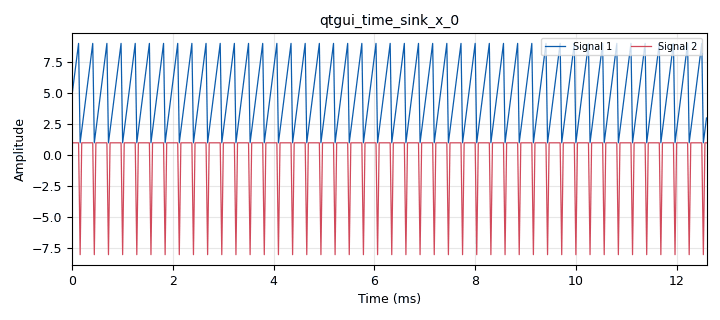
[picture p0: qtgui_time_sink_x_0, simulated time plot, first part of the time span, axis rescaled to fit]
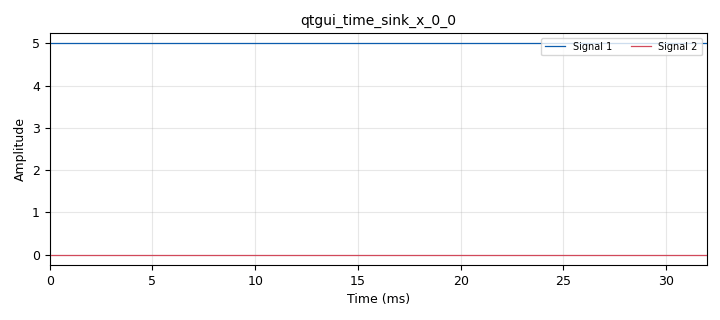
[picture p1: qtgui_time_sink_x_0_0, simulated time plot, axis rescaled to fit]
options:
  parameters:
    author: USUARIO
    generate_options: qt_gui
    id: DiferenciadorP1
    output_language: python
    title: Not titled yet
  states: {}

blocks:
- name: samp_rate
  id: variable
  parameters:
    value: '32000'
  states: {}
- name: blocks_throttle2_0
  id: blocks_throttle2
  parameters:
    samples_per_second: samp_rate
    type: float
  states: {}
- name: blocks_throttle2_0_0
  id: blocks_throttle2
  parameters:
    samples_per_second: samp_rate
    type: float
  states: {}
- name: blocks_vector_source_x_0
  id: blocks_vector_source_x
  parameters:
    repeat: 'True'
    type: float
    vector: (1,2,3,4,5,6,7,8,9)
  states: {}
- name: blocks_vector_source_x_0_0
  id: blocks_vector_source_x
  parameters:
    repeat: 'True'
    type: float
    vector: (5,5)
  states: {}
- name: epy_block_0
  id: epy_block
  parameters:
    _source_code: |-
      import numpy as np
      from gnuradio import gr


      class blk(gr.sync_block):

          def __init__(self):
              gr.sync_block.__init__(
                  self,
                  name='e_Diff',
                  in_sig=[np.float32],
                  out_sig=[np.float32]
              )

              self.x_anterior = 0

          def work(self, input_items, output_items):

              x = input_items[0]
              y = output_items[0]

              y[:] = x - np.concatenate(([self.x_anterior], x[:-1]))

              self.x_anterior = x[-1]

              return len(y)
  states: {}
- name: epy_block_0_0
  id: epy_block
  parameters:
    _source_code: |-
      import numpy as np
      from gnuradio import gr


      class blk(gr.sync_block):

          def __init__(self):
              gr.sync_block.__init__(
                  self,
                  name='e_Diff',
                  in_sig=[np.float32],
                  out_sig=[np.float32]
              )

              self.x_anterior = 0

          def work(self, input_items, output_items):

              x = input_items[0]
              y = output_items[0]

              y[:] = x - np.concatenate(([self.x_anterior], x[:-1]))

              self.x_anterior = x[-1]

              return len(y)
  states: {}
- name: qtgui_time_sink_x_0
  id: qtgui_time_sink_x
  parameters:
    color1: green
    nconnections: '2'
    size: '1024'
    srate: samp_rate
    type: float
  states: {}
- name: qtgui_time_sink_x_0_0
  id: qtgui_time_sink_x
  parameters:
    color1: green
    nconnections: '2'
    size: '1024'
    srate: samp_rate
    type: float
  states: {}

connections:
- [blocks_throttle2_0, '0', qtgui_time_sink_x_0, '1']
- [blocks_throttle2_0_0, '0', qtgui_time_sink_x_0_0, '1']
- [blocks_vector_source_x_0, '0', epy_block_0, '0']
- [blocks_vector_source_x_0, '0', qtgui_time_sink_x_0, '0']
- [blocks_vector_source_x_0_0, '0', epy_block_0_0, '0']
- [blocks_vector_source_x_0_0, '0', qtgui_time_sink_x_0_0, '0']
- [epy_block_0, '0', blocks_throttle2_0, '0']
- [epy_block_0_0, '0', blocks_throttle2_0_0, '0']

metadata:
  file_format: 1
  grc_version: 3.10.12.0
